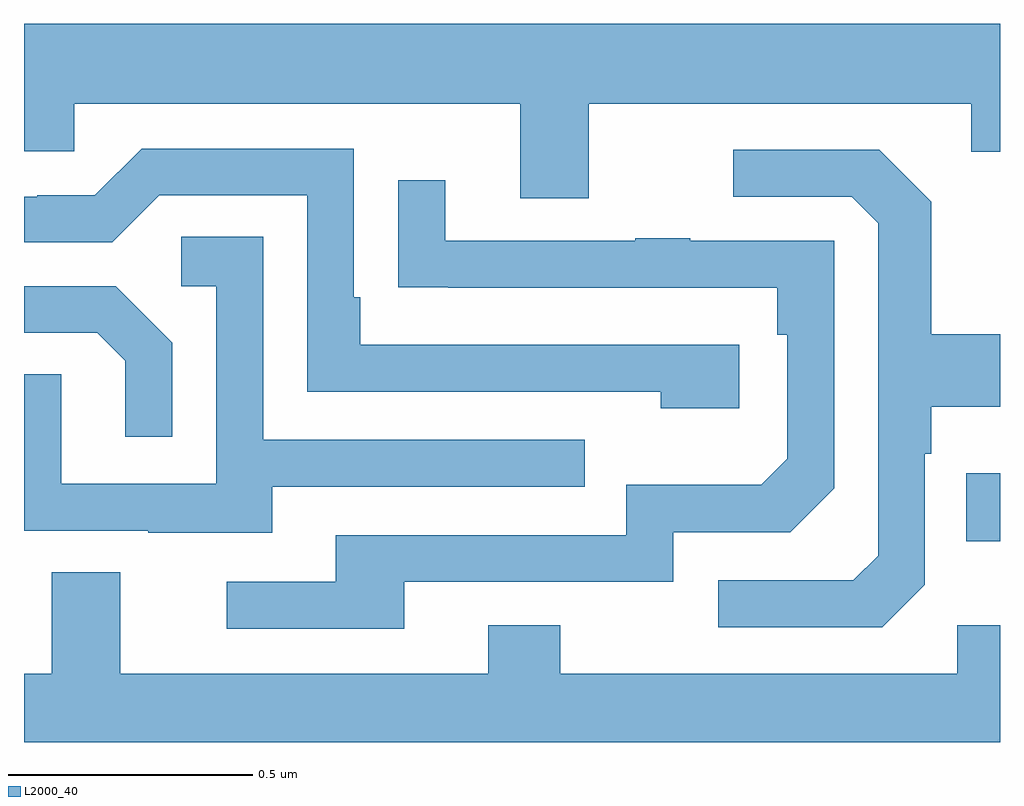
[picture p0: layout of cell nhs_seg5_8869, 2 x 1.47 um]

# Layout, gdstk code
import gdstk
lib = gdstk.Library(unit=1e-6, precision=1e-09)
def R(c, l, rs):  # rectangles x0, y0, x1, y1
    for r in rs: c.add(gdstk.rectangle(r[:2], r[2:], *l))
def P(c, l, *ps):  # polygons
    for p in ps: c.add(gdstk.Polygon(p, *l))
L2000_40 = (2000, 40)

nhs_seg5_8869 = lib.new_cell('nhs_seg5_8869')
R(nhs_seg5_8869, L2000_40, [(228.931,841.211,229,841.351)])
P(nhs_seg5_8869, L2000_40, [(228.157,842.108),(228.941,842.108),(228.941,842.009),(229,842.009),(229,842.272),(227,842.272),(227,842.01),(227.103,842.01),(227.103,842.108),(228.017,842.108),(228.017,841.914),(228.157,841.914)],
  [(228.466,841.614),(227.689,841.614),(227.689,841.711),(227.676,841.711),(227.676,842.016),(227.241,842.016),(227.145,841.92),(227.027,841.92),(227.027,841.917),(227,841.917),(227,841.824),(227.181,841.824),(227.277,841.92),(227.58,841.92),(227.58,841.518),(228.305,841.518),(228.305,841.484),(228.466,841.484)],
  [(228.846,841.122),(228.846,841.391),(228.859,841.391),(228.859,841.487),(229,841.487),(229,841.635),(228.859,841.635),(228.859,841.907),(228.753,842.013),(228.453,842.013),(228.453,841.917),(228.696,841.917),(228.75,841.863),(228.75,841.182),(228.699,841.131),(228.423,841.131),(228.423,841.035),(228.759,841.035)],
  [(227.779,841.128),(228.33,841.128),(228.33,841.23),(228.57,841.23),(228.66,841.32),(228.66,841.827),(228.365,841.827),(228.365,841.832),(228.253,841.832),(228.253,841.827),(227.863,841.827),(227.863,841.951),(227.767,841.951),(227.767,841.732),(227.869,841.732),(227.869,841.731),(228.544,841.731),(228.544,841.634),(228.564,841.634),(228.564,841.38),(228.511,841.327),(228.234,841.327),(228.234,841.224),(227.639,841.224),(227.639,841.128),(227.415,841.128),(227.415,841.032),(227.779,841.032)],
  [(227.509,841.323),(228.149,841.323),(228.149,841.419),(227.49,841.419),(227.49,841.835),(227.322,841.835),(227.322,841.734),(227.394,841.734),(227.394,841.329),(227.076,841.329),(227.076,841.553),(227,841.553),(227,841.233),(227.255,841.233),(227.255,841.229),(227.509,841.229)],
  [(227.304,841.618),(227.188,841.734),(227,841.734),(227,841.638),(227.15,841.638),(227.207,841.581),(227.207,841.425),(227.304,841.425)],
  [(229,841.039),(228.912,841.039),(228.912,840.94),(228.099,840.94),(228.099,841.039),(227.951,841.039),(227.951,840.94),(227.197,840.94),(227.197,841.148),(227.057,841.148),(227.057,840.94),(227,840.94),(227,840.799),(229,840.799)])

lib.write_gds('nhs_seg5_8869.gds')
